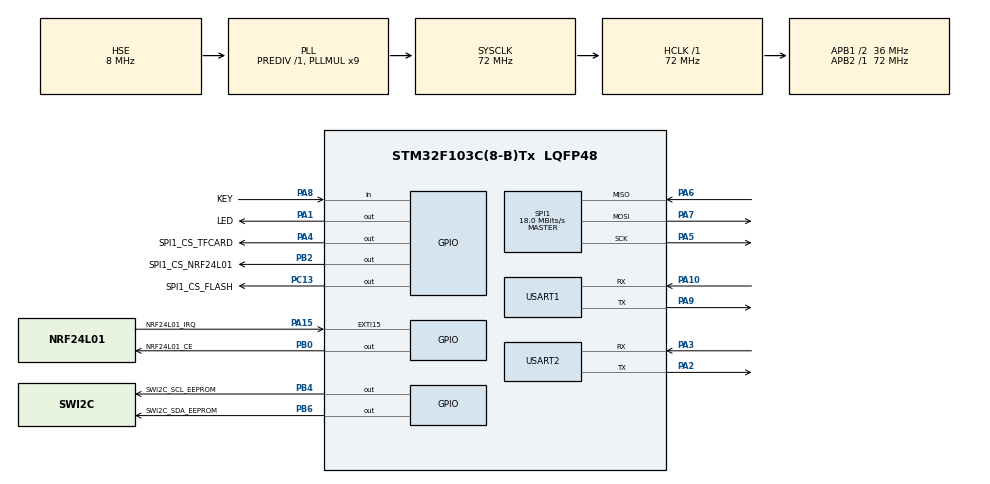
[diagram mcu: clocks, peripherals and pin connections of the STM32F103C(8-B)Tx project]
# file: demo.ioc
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Mcu.Family=STM32F1
Mcu.Name=STM32F103C(8-B)Tx
Mcu.Package=LQFP48
Mcu.UserConstants=UART_WIFI,huart2;UART_BLE,huart2
NVIC.PriorityGroup=NVIC_PRIORITYGROUP_4
NVIC.TIM4_IRQn=true\:0\:0\:false\:false\:true\:true\:true\:true
PA1.GPIO_Label=LED
PA1.GPIO_PuPd=GPIO_PULLUP
PA1.GPIO_Speed=GPIO_SPEED_FREQ_HIGH
PA1.Signal=GPIO_Output
PA10.Mode=Asynchronous
PA10.Signal=USART1_RX
PA13.Mode=Serial_Wire
PA13.Signal=SYS_JTMS-SWDIO
PA14.Mode=Serial_Wire
PA14.Signal=SYS_JTCK-SWCLK
PA15.GPIO_Label=NRF24L01_IRQ
PA15.GPIO_PuPd=GPIO_PULLUP
PA15.Signal=GPXTI15
PA2.Mode=Asynchronous
PA2.Signal=USART2_TX
PA3.Mode=Asynchronous
PA3.Signal=USART2_RX
PA4.GPIO_Label=SPI1_CS_TFCARD
PA4.GPIO_PuPd=GPIO_PULLUP
PA4.GPIO_Speed=GPIO_SPEED_FREQ_HIGH
PA4.Signal=GPIO_Output
PA5.Mode=Full_Duplex_Master
PA5.Signal=SPI1_SCK
PA6.Mode=Full_Duplex_Master
PA6.Signal=SPI1_MISO
PA7.Mode=Full_Duplex_Master
PA7.Signal=SPI1_MOSI
PA8.GPIO_Label=KEY
PA8.GPIO_PuPd=GPIO_PULLUP
PA8.Signal=GPIO_Input
PA9.Mode=Asynchronous
PA9.Signal=USART1_TX
PB0.GPIO_Label=NRF24L01_CE
PB0.GPIO_PuPd=GPIO_PULLUP
PB0.GPIO_Speed=GPIO_SPEED_FREQ_HIGH
PB0.Signal=GPIO_Output
PB2.GPIO_Label=SPI1_CS_NRF24L01
PB2.GPIO_PuPd=GPIO_PULLUP
PB2.GPIO_Speed=GPIO_SPEED_FREQ_HIGH
PB2.Signal=GPIO_Output
PB4.GPIO_Label=SWI2C_SCL_EEPROM
PB4.GPIO_ModeDefaultOutputPP=GPIO_MODE_OUTPUT_OD
PB4.GPIO_PuPd=GPIO_NOPULL
PB4.GPIO_Speed=GPIO_SPEED_FREQ_HIGH
PB4.Signal=GPIO_Output
PB6.GPIO_Label=SWI2C_SDA_EEPROM
PB6.GPIO_ModeDefaultOutputPP=GPIO_MODE_OUTPUT_OD
PB6.GPIO_PuPd=GPIO_NOPULL
PB6.GPIO_Speed=GPIO_SPEED_FREQ_HIGH
PB6.Signal=GPIO_Output
PC13-TAMPER-RTC.GPIO_Label=SPI1_CS_FLASH
PC13-TAMPER-RTC.GPIO_PuPd=GPIO_PULLUP
PC13-TAMPER-RTC.GPIO_Speed=GPIO_SPEED_FREQ_HIGH
PC13-TAMPER-RTC.Signal=GPIO_Output
PD0-OSC_IN.Mode=HSE-External-Oscillator
PD0-OSC_IN.Signal=RCC_OSC_IN
PD1-OSC_OUT.Mode=HSE-External-Oscillator
PD1-OSC_OUT.Signal=RCC_OSC_OUT
ProjectManager.HeapSize=0x800
ProjectManager.StackSize=0x800
ProjectManager.TargetToolchain=MDK-ARM V5
RCC.AHBFreq_Value=72000000
RCC.APB1CLKDivider=RCC_HCLK_DIV2
RCC.APB1Freq_Value=36000000
RCC.APB1TimFreq_Value=72000000
RCC.APB2Freq_Value=72000000
RCC.APB2TimFreq_Value=72000000
RCC.HCLKFreq_Value=72000000
RCC.PLLMUL=RCC_PLL_MUL9
RCC.PLLSourceVirtual=RCC_PLLSOURCE_HSE
RCC.SYSCLKFreq_VALUE=72000000
RCC.SYSCLKSource=RCC_SYSCLKSOURCE_PLLCLK
RCC.USBFreq_Value=48000000
RCC.USBPrescaler=RCC_USBCLKSOURCE_PLL_DIV1_5
SPI1.BaudRatePrescaler=SPI_BAUDRATEPRESCALER_4
SPI1.CalculateBaudRate=18.0 MBits/s
SPI1.Direction=SPI_DIRECTION_2LINES
SPI1.Mode=SPI_MODE_MASTER
SPI1.VirtualType=VM_MASTER
TIM4.Prescaler=100
USART1.VirtualMode=VM_ASYNC
USART2.VirtualMode=VM_ASYNC
VP_CRC_VS_CRC.Mode=CRC_Activate
VP_RTC_VS_RTC_Activate.Mode=RTC_Enabled
VP_TIM4_VS_ClockSourceINT.Mode=Internal
board=custom

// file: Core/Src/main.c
/* USER CODE BEGIN Header */
/**
 ******************************************************************************
 * @file           : main.c
 * @brief          : Main program body
 ******************************************************************************
 * @attention
 *
 * Copyright (c) 2024 STMicroelectronics.
 * All rights reserved.
 *
 * This software is licensed under terms that can be found in the LICENSE file
 * in the root directory of this software component.
 * If no LICENSE file comes with this software, it is provided AS-IS.
 *
 ******************************************************************************
 */
/* USER CODE END Header */
#include "main.h"

/* USER CODE BEGIN Includes */
#include <flashdb.h>

/* USER CODE END Includes */

/* USER CODE BEGIN PD */
#define FDB_LOG_TAG "[main]"
/* USER CODE END PD */

CRC_HandleTypeDef hcrc;

RTC_HandleTypeDef hrtc;

SPI_HandleTypeDef hspi1;

TIM_HandleTypeDef htim4;

UART_HandleTypeDef huart1;
UART_HandleTypeDef huart2;

void SystemClock_Config(void);
static void MX_GPIO_Init(void);
static void MX_SPI1_Init(void);
static void MX_USART1_UART_Init(void);
static void MX_USART2_UART_Init(void);
static void MX_CRC_Init(void);
static void MX_TIM4_Init(void);
static void MX_RTC_Init(void);

/* USER CODE BEGIN 0 */

void HAL_TIM_PeriodElapsedCallback(TIM_HandleTypeDef* htim)
{
}

void PINMUX_PC13_GPIO(void)
{
    hrtc.Instance          = RTC;
    hrtc.Init.AsynchPrediv = RTC_AUTO_1_SECOND;
    // hrtc.Init.OutPut = RTC_OUTPUTSOURCE_ALARM;
    hrtc.Init.OutPut       = RTC_OUTPUTSOURCE_NONE;  // PC13 as GPIO
    if (HAL_RTC_Init(&hrtc) != HAL_OK)
    {
        Error_Handler();
    }
}

static uint32_t boot_count = 0;
static time_t boot_time[10] = {0, 1, 2, 3};
/* default KV nodes */
static struct fdb_default_kv_node default_kv_table[] = {
        {"username", "armink", 0}, /* string KV */
        {"password", "123456", 0}, /* string KV */
        {"boot_count", &boot_count, sizeof(boot_count)}, /* int type KV */
        {"boot_time", &boot_time, sizeof(boot_time)},    /* int array type KV */
};
/* KVDB object */
static struct fdb_kvdb kvdb = { 0 };
/* TSDB object */
struct fdb_tsdb tsdb = { 0 };
/* counts for simulated timestamp */
static int counts = 0;

extern void kvdb_basic_sample(fdb_kvdb_t kvdb);
extern void kvdb_type_string_sample(fdb_kvdb_t kvdb);
extern void kvdb_type_blob_sample(fdb_kvdb_t kvdb);
extern void tsdb_sample(fdb_tsdb_t tsdb);

static void lock(fdb_db_t db)
{
    __disable_irq();
}

static void unlock(fdb_db_t db)
{
    __enable_irq();
}

static fdb_time_t get_time(void)
{
    /* Using the counts instead of timestamp.
     * Please change this function to return RTC time.
     */
    return ++counts;
}

/* USER CODE END 0 */

int main(void)
{

  /* MCU Configuration--------------------------------------------------------*/

  /* Reset of all peripherals, Initializes the Flash interface and the Systick. */
  HAL_Init();

  /* Configure the system clock */
  SystemClock_Config();

  /* Initialize all configured peripherals */
  MX_GPIO_Init();
  MX_SPI1_Init();
  MX_USART1_UART_Init();
  MX_USART2_UART_Init();
  MX_CRC_Init();
  MX_TIM4_Init();
  MX_RTC_Init();
  /* USER CODE BEGIN 2 */

		PINMUX_PC13_GPIO();

		fdb_err_t result;

#ifdef FDB_USING_KVDB
    { /* KVDB Sample */
        struct fdb_default_kv default_kv;

        default_kv.kvs = default_kv_table;
        default_kv.num = sizeof(default_kv_table) / sizeof(default_kv_table[0]);
        /* set the lock and unlock function if you want */
        fdb_kvdb_control(&kvdb, FDB_KVDB_CTRL_SET_LOCK, (void *)lock);
        fdb_kvdb_control(&kvdb, FDB_KVDB_CTRL_SET_UNLOCK, (void *)unlock);
        /* Key-Value database initialization
         *
         *       &kvdb: database object
         *       "env": database name
         * "fdb_kvdb1": The flash partition name base on FAL. Please make sure it's in FAL partition table.
         *              Please change to YOUR partition name.
         * &default_kv: The default KV nodes. It will auto add to KVDB when first initialize successfully.
         *        NULL: The user data if you need, now is empty.
         */
        result = fdb_kvdb_init(&kvdb, "env", "fdb_kvdb1", &default_kv, NULL);

        if (result != FDB_NO_ERR) {
            return -1;
        }

        /* run basic KV samples */
        kvdb_basic_sample(&kvdb);
        /* run string KV samples */
        kvdb_type_string_sample(&kvdb);
        /* run blob KV samples */
        kvdb_type_blob_sample(&kvdb);
    }
#endif /* FDB_USING_KVDB */

#ifdef FDB_USING_TSDB
    { /* TSDB Sample */
        /* set the lock and unlock function if you want */
        fdb_tsdb_control(&tsdb, FDB_TSDB_CTRL_SET_LOCK, (void *)lock);
        fdb_tsdb_control(&tsdb, FDB_TSDB_CTRL_SET_UNLOCK, (void *)unlock);
        /* Time series database initialization
         *
         *       &tsdb: database object
         *       "log": database name
         * "fdb_tsdb1": The flash partition name base on FAL. Please make sure it's in FAL partition table.
         *              Please change to YOUR partition name.
         *    get_time: The get current timestamp function.
         *         128: maximum length of each log
         *        NULL: The user data if you need, now is empty.
         */
        result = fdb_tsdb_init(&tsdb, "log", "fdb_tsdb1", get_time, 128, NULL);
        /* read last saved time for simulated timestamp */
        fdb_tsdb_control(&tsdb, FDB_TSDB_CTRL_GET_LAST_TIME, &counts);

        if (result != FDB_NO_ERR) {
            return -1;
        }

        /* run TSDB sample */
        tsdb_sample(&tsdb);
    }
#endif /* FDB_USING_TSDB */

  /* USER CODE END 2 */

  /* Infinite loop */
    while (1)
    {

    }
}

void SystemClock_Config(void)
{
  RCC_OscInitTypeDef RCC_OscInitStruct = {0};
  RCC_ClkInitTypeDef RCC_ClkInitStruct = {0};
  RCC_PeriphCLKInitTypeDef PeriphClkInit = {0};

  /** Initializes the RCC Oscillators according to the specified parameters
  * in the RCC_OscInitTypeDef structure.
  */
  RCC_OscInitStruct.OscillatorType = RCC_OSCILLATORTYPE_LSI|RCC_OSCILLATORTYPE_HSE;
  RCC_OscInitStruct.HSEState = RCC_HSE_ON;
  RCC_OscInitStruct.HSEPredivValue = RCC_HSE_PREDIV_DIV1;
  RCC_OscInitStruct.HSIState = RCC_HSI_ON;
  RCC_OscInitStruct.LSIState = RCC_LSI_ON;
  RCC_OscInitStruct.PLL.PLLState = RCC_PLL_ON;
  RCC_OscInitStruct.PLL.PLLSource = RCC_PLLSOURCE_HSE;
  RCC_OscInitStruct.PLL.PLLMUL = RCC_PLL_MUL9;
  if (HAL_RCC_OscConfig(&RCC_OscInitStruct) != HAL_OK)
  {
    Error_Handler();
  }

  /** Initializes the CPU, AHB and APB buses clocks
  */
  RCC_ClkInitStruct.ClockType = RCC_CLOCKTYPE_HCLK|RCC_CLOCKTYPE_SYSCLK
                              |RCC_CLOCKTYPE_PCLK1|RCC_CLOCKTYPE_PCLK2;
  RCC_ClkInitStruct.SYSCLKSource = RCC_SYSCLKSOURCE_PLLCLK;
  RCC_ClkInitStruct.AHBCLKDivider = RCC_SYSCLK_DIV1;
  RCC_ClkInitStruct.APB1CLKDivider = RCC_HCLK_DIV2;
  RCC_ClkInitStruct.APB2CLKDivider = RCC_HCLK_DIV1;

  if (HAL_RCC_ClockConfig(&RCC_ClkInitStruct, FLASH_LATENCY_2) != HAL_OK)
  {
    Error_Handler();
  }
  PeriphClkInit.PeriphClockSelection = RCC_PERIPHCLK_RTC;
  PeriphClkInit.RTCClockSelection = RCC_RTCCLKSOURCE_LSI;
  if (HAL_RCCEx_PeriphCLKConfig(&PeriphClkInit) != HAL_OK)
  {
    Error_Handler();
  }
}

static void MX_CRC_Init(void)
{

  hcrc.Instance = CRC;
  if (HAL_CRC_Init(&hcrc) != HAL_OK)
  {
    Error_Handler();
  }

}

static void MX_RTC_Init(void)
{

  /** Initialize RTC Only
  */
  hrtc.Instance = RTC;
  hrtc.Init.AsynchPrediv = RTC_AUTO_1_SECOND;
  hrtc.Init.OutPut = RTC_OUTPUTSOURCE_ALARM;
  if (HAL_RTC_Init(&hrtc) != HAL_OK)
  {
    Error_Handler();
  }

}

static void MX_SPI1_Init(void)
{

  /* SPI1 parameter configuration*/
  hspi1.Instance = SPI1;
  hspi1.Init.Mode = SPI_MODE_MASTER;
  hspi1.Init.Direction = SPI_DIRECTION_2LINES;
  hspi1.Init.DataSize = SPI_DATASIZE_8BIT;
  hspi1.Init.CLKPolarity = SPI_POLARITY_LOW;
  hspi1.Init.CLKPhase = SPI_PHASE_1EDGE;
  hspi1.Init.NSS = SPI_NSS_SOFT;
  hspi1.Init.BaudRatePrescaler = SPI_BAUDRATEPRESCALER_4;
  hspi1.Init.FirstBit = SPI_FIRSTBIT_MSB;
  hspi1.Init.TIMode = SPI_TIMODE_DISABLE;
  hspi1.Init.CRCCalculation = SPI_CRCCALCULATION_DISABLE;
  hspi1.Init.CRCPolynomial = 10;
  if (HAL_SPI_Init(&hspi1) != HAL_OK)
  {
    Error_Handler();
  }

}

static void MX_TIM4_Init(void)
{

  TIM_ClockConfigTypeDef sClockSourceConfig = {0};
  TIM_MasterConfigTypeDef sMasterConfig = {0};

  htim4.Instance = TIM4;
  htim4.Init.Prescaler = 100;
  htim4.Init.CounterMode = TIM_COUNTERMODE_UP;
  htim4.Init.Period = 65535;
  htim4.Init.ClockDivision = TIM_CLOCKDIVISION_DIV1;
  htim4.Init.AutoReloadPreload = TIM_AUTORELOAD_PRELOAD_DISABLE;
  if (HAL_TIM_Base_Init(&htim4) != HAL_OK)
  {
    Error_Handler();
  }
  sClockSourceConfig.ClockSource = TIM_CLOCKSOURCE_INTERNAL;
  if (HAL_TIM_ConfigClockSource(&htim4, &sClockSourceConfig) != HAL_OK)
  {
    Error_Handler();
  }
  sMasterConfig.MasterOutputTrigger = TIM_TRGO_RESET;
  sMasterConfig.MasterSlaveMode = TIM_MASTERSLAVEMODE_DISABLE;
  if (HAL_TIMEx_MasterConfigSynchronization(&htim4, &sMasterConfig) != HAL_OK)
  {
    Error_Handler();
  }

}

static void MX_USART1_UART_Init(void)
{

  huart1.Instance = USART1;
  huart1.Init.BaudRate = 115200;
  huart1.Init.WordLength = UART_WORDLENGTH_8B;
  huart1.Init.StopBits = UART_STOPBITS_1;
  huart1.Init.Parity = UART_PARITY_NONE;
  huart1.Init.Mode = UART_MODE_TX_RX;
  huart1.Init.HwFlowCtl = UART_HWCONTROL_NONE;
  huart1.Init.OverSampling = UART_OVERSAMPLING_16;
  if (HAL_UART_Init(&huart1) != HAL_OK)
  {
    Error_Handler();
  }

}

static void MX_USART2_UART_Init(void)
{

  huart2.Instance = USART2;
  huart2.Init.BaudRate = 115200;
  huart2.Init.WordLength = UART_WORDLENGTH_8B;
  huart2.Init.StopBits = UART_STOPBITS_1;
  huart2.Init.Parity = UART_PARITY_NONE;
  huart2.Init.Mode = UART_MODE_TX_RX;
  huart2.Init.HwFlowCtl = UART_HWCONTROL_NONE;
  huart2.Init.OverSampling = UART_OVERSAMPLING_16;
  if (HAL_UART_Init(&huart2) != HAL_OK)
  {
    Error_Handler();
  }

}

static void MX_GPIO_Init(void)
{
  GPIO_InitTypeDef GPIO_InitStruct = {0};

  /* GPIO Ports Clock Enable */
  __HAL_RCC_GPIOC_CLK_ENABLE();
  __HAL_RCC_GPIOD_CLK_ENABLE();
  __HAL_RCC_GPIOA_CLK_ENABLE();
  __HAL_RCC_GPIOB_CLK_ENABLE();

  /*Configure GPIO pin Output Level */
  HAL_GPIO_WritePin(SPI1_CS_FLASH_GPIO_Port, SPI1_CS_FLASH_Pin, GPIO_PIN_RESET);

  /*Configure GPIO pin Output Level */
  HAL_GPIO_WritePin(GPIOA, LED_Pin|SPI1_CS_TFCARD_Pin, GPIO_PIN_RESET);

  /*Configure GPIO pin Output Level */
  HAL_GPIO_WritePin(GPIOB, NRF24L01_CE_Pin|SPI1_CS_NRF24L01_Pin|SWI2C_SCL_EEPROM_Pin|SWI2C_SDA_EEPROM_Pin, GPIO_PIN_RESET);

  /*Configure GPIO pin : SPI1_CS_FLASH_Pin */
  GPIO_InitStruct.Pin = SPI1_CS_FLASH_Pin;
  GPIO_InitStruct.Mode = GPIO_MODE_OUTPUT_PP;
  GPIO_InitStruct.Pull = GPIO_PULLUP;
  GPIO_InitStruct.Speed = GPIO_SPEED_FREQ_HIGH;
  HAL_GPIO_Init(SPI1_CS_FLASH_GPIO_Port, &GPIO_InitStruct);

  /*Configure GPIO pins : LED_Pin SPI1_CS_TFCARD_Pin */
  GPIO_InitStruct.Pin = LED_Pin|SPI1_CS_TFCARD_Pin;
  GPIO_InitStruct.Mode = GPIO_MODE_OUTPUT_PP;
  GPIO_InitStruct.Pull = GPIO_PULLUP;
  GPIO_InitStruct.Speed = GPIO_SPEED_FREQ_HIGH;
  HAL_GPIO_Init(GPIOA, &GPIO_InitStruct);

  /*Configure GPIO pins : NRF24L01_CE_Pin SPI1_CS_NRF24L01_Pin */
  GPIO_InitStruct.Pin = NRF24L01_CE_Pin|SPI1_CS_NRF24L01_Pin;
  GPIO_InitStruct.Mode = GPIO_MODE_OUTPUT_PP;
  GPIO_InitStruct.Pull = GPIO_PULLUP;
  GPIO_InitStruct.Speed = GPIO_SPEED_FREQ_HIGH;
  HAL_GPIO_Init(GPIOB, &GPIO_InitStruct);

  /*Configure GPIO pin : KEY_Pin */
  GPIO_InitStruct.Pin = KEY_Pin;
  GPIO_InitStruct.Mode = GPIO_MODE_INPUT;
  GPIO_InitStruct.Pull = GPIO_PULLUP;
  HAL_GPIO_Init(KEY_GPIO_Port, &GPIO_InitStruct);

  /*Configure GPIO pin : NRF24L01_IRQ_Pin */
  GPIO_InitStruct.Pin = NRF24L01_IRQ_Pin;
  GPIO_InitStruct.Mode = GPIO_MODE_IT_RISING;
  GPIO_InitStruct.Pull = GPIO_PULLUP;
  HAL_GPIO_Init(NRF24L01_IRQ_GPIO_Port, &GPIO_InitStruct);

  /*Configure GPIO pins : SWI2C_SCL_EEPROM_Pin SWI2C_SDA_EEPROM_Pin */
  GPIO_InitStruct.Pin = SWI2C_SCL_EEPROM_Pin|SWI2C_SDA_EEPROM_Pin;
  GPIO_InitStruct.Mode = GPIO_MODE_OUTPUT_OD;
  GPIO_InitStruct.Pull = GPIO_NOPULL;
  GPIO_InitStruct.Speed = GPIO_SPEED_FREQ_HIGH;
  HAL_GPIO_Init(GPIOB, &GPIO_InitStruct);

}

/* USER CODE BEGIN 4 */
int fputc(int ch, FILE* f)
{
    HAL_UART_Transmit(&huart1, (uint8_t*)&ch, 1, 0xFF);
    return ch;
}
/* USER CODE END 4 */

void Error_Handler(void)
{
    __disable_irq();
    while (1)
    {
    }
}
